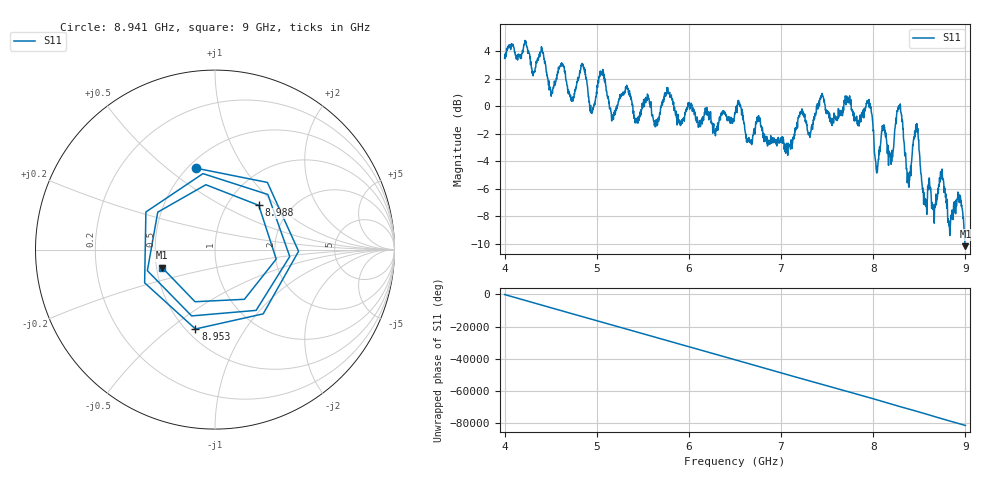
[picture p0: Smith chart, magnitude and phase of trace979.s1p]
! Created with skrf 1.8.0 (http://scikit-rf.org).
# Hz S RI R 50.0
!freq ReS11 ImS11
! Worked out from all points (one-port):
!   1601 points, 4 GHz to 9 GHz, reference 50 ohm
!   lowest |S11| = -10.2 dB at 9 GHz (marker M1), VSWR 1.90, Z = 26.8 - j5.98 ohm
!   |S11| at or under -10 dB: 8.995531 GHz to end of sweep
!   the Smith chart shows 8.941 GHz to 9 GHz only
!   S11 on the Smith chart (normalised r, x): 8.941 GHz: 0.55, +0.64; 8.953 GHz: 0.56, -0.62; 8.988 GHz: 1.39, +0.78; 9 GHz: 0.54, -0.12
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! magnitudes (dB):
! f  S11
! 4 GHz  3.5
! 4.4 GHz  4.3
! 4.509 GHz  1.0
! 4.625 GHz  2.9
! 4.728 GHz  0.3
! 4.847 GHz  3.1
! 4.941 GHz  -0.5
! 5.047 GHz  2.3
! 5.162 GHz  -1.1
! 5.25 GHz  0.8
! 5.875 GHz  -0.6
! 6.5 GHz  -0.6
! 7.125 GHz  -2.7
! 7.438 GHz  0.7
! 7.75 GHz  0.3
! 7.956 GHz  -0.1
! 8.041 GHz  -4.4
! 8.112 GHz  -1.6
! 8.191 GHz  -3.8
! 8.284 GHz  0.0
! 8.375 GHz  -4.8
! 8.466 GHz  -1.4
! 8.562 GHz  -6.7
! 8.741 GHz  -5.2
! 8.941 GHz  -6.6
! 8.953 GHz  -6.8
! 8.988 GHz  -9.2
! 9 GHz  -10.2
